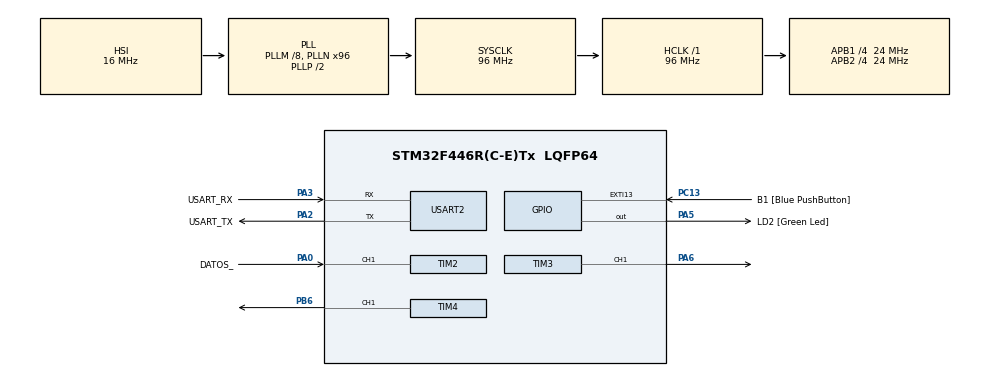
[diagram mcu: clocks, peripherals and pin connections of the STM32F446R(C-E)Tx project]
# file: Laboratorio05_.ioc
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Mcu.Family=STM32F4
Mcu.Name=STM32F446R(C-E)Tx
Mcu.Package=LQFP64
NVIC.PriorityGroup=NVIC_PRIORITYGROUP_0
NVIC.TIM2_IRQn=true\:0\:0\:false\:false\:true\:true\:true\:true
PA0-WKUP.GPIO_Label=DATOS_
PA0-WKUP.Signal=S_TIM2_CH1_ETR
PA13.GPIO_Label=TMS
PA13.Signal=SYS_JTMS-SWDIO
PA14.GPIO_Label=TCK
PA14.Signal=SYS_JTCK-SWCLK
PA2.GPIO_Label=USART_TX
PA2.Mode=Asynchronous
PA2.Signal=USART2_TX
PA3.GPIO_Label=USART_RX
PA3.Mode=Asynchronous
PA3.Signal=USART2_RX
PA5.GPIO_Label=LD2 [Green Led]
PA5.Signal=GPIO_Output
PA6.Signal=S_TIM3_CH1
PB3.GPIO_Label=SWO
PB3.Signal=SYS_JTDO-SWO
PB6.Signal=S_TIM4_CH1
PC13.GPIO_Label=B1 [Blue PushButton]
PC13.GPIO_ModeDefaultEXTI=GPIO_MODE_IT_FALLING
PC13.Signal=GPXTI13
PC14-OSC32_IN.Signal=RCC_OSC32_IN
PC15-OSC32_OUT.Signal=RCC_OSC32_OUT
PH0-OSC_IN.Signal=RCC_OSC_IN
PH1-OSC_OUT.Signal=RCC_OSC_OUT
ProjectManager.HeapSize=0x200
ProjectManager.StackSize=0x400
ProjectManager.TargetToolchain=STM32CubeIDE
RCC.AHBFreq_Value=96000000
RCC.APB1CLKDivider=RCC_HCLK_DIV4
RCC.APB1Freq_Value=24000000
RCC.APB1TimFreq_Value=48000000
RCC.APB2CLKDivider=RCC_HCLK_DIV4
RCC.APB2Freq_Value=24000000
RCC.APB2TimFreq_Value=48000000
RCC.CortexFreq_Value=96000000
RCC.FLatency-AdvancedSettings=FLASH_LATENCY_3
RCC.HCLKFreq_Value=96000000
RCC.HSE_VALUE=8000000
RCC.HSI_VALUE=16000000
RCC.LSE_VALUE=32768
RCC.PLLM=8
RCC.PLLN=96
RCC.SYSCLKFreq_VALUE=96000000
RCC.SYSCLKSource=RCC_SYSCLKSOURCE_PLLCLK
RCC.USBFreq_Value=96000000
RCC.VCOOutputFreq_Value=192000000
SH.S_TIM2_CH1_ETR.0=TIM2_CH1,Input_Capture1_from_TI1
SH.S_TIM3_CH1.0=TIM3_CH1,PWM Generation1 CH1
SH.S_TIM4_CH1.0=TIM4_CH1,PWM Generation1 CH1
TIM2.AutoReloadPreload=TIM_AUTORELOAD_PRELOAD_ENABLE
TIM2.Channel-Input_Capture1_from_TI1=TIM_CHANNEL_1
TIM2.Prescaler=48-1
TIM3.AutoReloadPreload=TIM_AUTORELOAD_PRELOAD_ENABLE
TIM3.Channel-PWM\ Generation1\ CH1=TIM_CHANNEL_1
TIM3.Period=49999
TIM3.Prescaler=899
TIM3.Pulse-PWM\ Generation1\ CH1=25000
TIM4.AutoReloadPreload=TIM_AUTORELOAD_PRELOAD_ENABLE
TIM4.Channel-PWM\ Generation1\ CH1=TIM_CHANNEL_1
TIM4.Period=49999
TIM4.Prescaler=3599
TIM4.Pulse-PWM\ Generation1\ CH1=2500
USART2.VirtualMode=VM_ASYNC
VP_TIM2_VS_ClockSourceINT.Mode=Internal
VP_TIM3_VS_ClockSourceINT.Mode=Internal
VP_TIM4_VS_ClockSourceINT.Mode=Internal
board=NUCLEO-F446RE

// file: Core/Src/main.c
/* USER CODE BEGIN Header */
/**
  ******************************************************************************
  * @file           : main.c
  * @brief          : Laboratorio 05
  ******************************************************************************
  */
/* USER CODE END Header */
#include "main.h"

/* USER CODE BEGIN Includes */
#include <stdio.h>
#include <string.h>
#include <stdbool.h>
#include <math.h>
/* USER CODE END Includes */

/* USER CODE BEGIN PD */
#define TIMER_FREQ_HZ   90000000UL   // 90 MHz (APB1)
#define FILTER_SIZE     8
/* USER CODE END PD */

TIM_HandleTypeDef htim2;
TIM_HandleTypeDef htim3;
TIM_HandleTypeDef htim4;

UART_HandleTypeDef huart2;

/* USER CODE BEGIN PV */
volatile uint32_t captura1 = 0;
volatile uint32_t captura2 = 0;
volatile uint32_t periodo_cuentas = 0;
volatile uint8_t primera_captura = 0;
volatile uint8_t nueva_medicion = 0;

uint32_t buffer_filtro[FILTER_SIZE];
uint8_t indice_filtro = 0;
uint8_t contador_muestras = 0;
uint32_t suma_filtro = 0;
uint32_t frecuencia_filtrada = 0;
/* USER CODE END PV */

void SystemClock_Config(void);
static void MX_GPIO_Init(void);
static void MX_TIM2_Init(void);
static void MX_USART2_UART_Init(void);
static void MX_TIM3_Init(void);
static void MX_TIM4_Init(void);

int main(void)
{

  /* MCU Configuration--------------------------------------------------------*/

  /* Reset of all peripherals, Initializes the Flash interface and the Systick. */
  HAL_Init();

  /* Configure the system clock */
  SystemClock_Config();

  /* Initialize all configured peripherals */
  MX_GPIO_Init();
  MX_TIM2_Init();
  MX_USART2_UART_Init();
  MX_TIM3_Init();
  MX_TIM4_Init();
  /* USER CODE BEGIN 2 */
  // Iniciar TIM2 (Input Capture)
  HAL_TIM_IC_Start_IT(&htim2, TIM_CHANNEL_1);

  // Iniciar PWM (señales cuadradas)
  HAL_TIM_PWM_Start(&htim3, TIM_CHANNEL_1);
  HAL_TIM_PWM_Start(&htim4, TIM_CHANNEL_1);

  // Mensaje de inicio
  char inicio[] = ":)\r\n";
  HAL_UART_Transmit(&huart2, (uint8_t*)inicio, strlen(inicio), HAL_MAX_DELAY);

  // Inicializar filtro
  for (int i = 0; i < FILTER_SIZE; i++) {
    buffer_filtro[i] = 0;
  }
  /* USER CODE END 2 */

  /* Infinite loop */
  while (1)
  {

  }
}

void SystemClock_Config(void)
{
  RCC_OscInitTypeDef RCC_OscInitStruct = {0};
  RCC_ClkInitTypeDef RCC_ClkInitStruct = {0};

  /** Configure the main internal regulator output voltage
  */
  __HAL_RCC_PWR_CLK_ENABLE();
  __HAL_PWR_VOLTAGESCALING_CONFIG(PWR_REGULATOR_VOLTAGE_SCALE3);

  /** Initializes the RCC Oscillators according to the specified parameters
  * in the RCC_OscInitTypeDef structure.
  */
  RCC_OscInitStruct.OscillatorType = RCC_OSCILLATORTYPE_HSI;
  RCC_OscInitStruct.HSIState = RCC_HSI_ON;
  RCC_OscInitStruct.HSICalibrationValue = RCC_HSICALIBRATION_DEFAULT;
  RCC_OscInitStruct.PLL.PLLState = RCC_PLL_ON;
  RCC_OscInitStruct.PLL.PLLSource = RCC_PLLSOURCE_HSI;
  RCC_OscInitStruct.PLL.PLLM = 8;
  RCC_OscInitStruct.PLL.PLLN = 96;
  RCC_OscInitStruct.PLL.PLLP = RCC_PLLP_DIV2;
  RCC_OscInitStruct.PLL.PLLQ = 2;
  RCC_OscInitStruct.PLL.PLLR = 2;
  if (HAL_RCC_OscConfig(&RCC_OscInitStruct) != HAL_OK)
  {
    Error_Handler();
  }

  /** Initializes the CPU, AHB and APB buses clocks
  */
  RCC_ClkInitStruct.ClockType = RCC_CLOCKTYPE_HCLK|RCC_CLOCKTYPE_SYSCLK
                              |RCC_CLOCKTYPE_PCLK1|RCC_CLOCKTYPE_PCLK2;
  RCC_ClkInitStruct.SYSCLKSource = RCC_SYSCLKSOURCE_PLLCLK;
  RCC_ClkInitStruct.AHBCLKDivider = RCC_SYSCLK_DIV1;
  RCC_ClkInitStruct.APB1CLKDivider = RCC_HCLK_DIV4;
  RCC_ClkInitStruct.APB2CLKDivider = RCC_HCLK_DIV4;

  if (HAL_RCC_ClockConfig(&RCC_ClkInitStruct, FLASH_LATENCY_3) != HAL_OK)
  {
    Error_Handler();
  }
}

static void MX_TIM2_Init(void)
{

  TIM_ClockConfigTypeDef sClockSourceConfig = {0};
  TIM_MasterConfigTypeDef sMasterConfig = {0};
  TIM_IC_InitTypeDef sConfigIC = {0};

  htim2.Instance = TIM2;
  htim2.Init.Prescaler = 48-1;
  htim2.Init.CounterMode = TIM_COUNTERMODE_UP;
  htim2.Init.Period = 4294967295;
  htim2.Init.ClockDivision = TIM_CLOCKDIVISION_DIV1;
  htim2.Init.AutoReloadPreload = TIM_AUTORELOAD_PRELOAD_ENABLE;
  if (HAL_TIM_Base_Init(&htim2) != HAL_OK)
  {
    Error_Handler();
  }
  sClockSourceConfig.ClockSource = TIM_CLOCKSOURCE_INTERNAL;
  if (HAL_TIM_ConfigClockSource(&htim2, &sClockSourceConfig) != HAL_OK)
  {
    Error_Handler();
  }
  if (HAL_TIM_IC_Init(&htim2) != HAL_OK)
  {
    Error_Handler();
  }
  sMasterConfig.MasterOutputTrigger = TIM_TRGO_RESET;
  sMasterConfig.MasterSlaveMode = TIM_MASTERSLAVEMODE_DISABLE;
  if (HAL_TIMEx_MasterConfigSynchronization(&htim2, &sMasterConfig) != HAL_OK)
  {
    Error_Handler();
  }
  sConfigIC.ICPolarity = TIM_INPUTCHANNELPOLARITY_RISING;
  sConfigIC.ICSelection = TIM_ICSELECTION_DIRECTTI;
  sConfigIC.ICPrescaler = TIM_ICPSC_DIV1;
  sConfigIC.ICFilter = 0;
  if (HAL_TIM_IC_ConfigChannel(&htim2, &sConfigIC, TIM_CHANNEL_1) != HAL_OK)
  {
    Error_Handler();
  }

}

static void MX_TIM3_Init(void)
{

  TIM_ClockConfigTypeDef sClockSourceConfig = {0};
  TIM_MasterConfigTypeDef sMasterConfig = {0};
  TIM_OC_InitTypeDef sConfigOC = {0};

  htim3.Instance = TIM3;
  htim3.Init.Prescaler = 899;
  htim3.Init.CounterMode = TIM_COUNTERMODE_UP;
  htim3.Init.Period = 49999;
  htim3.Init.ClockDivision = TIM_CLOCKDIVISION_DIV1;
  htim3.Init.AutoReloadPreload = TIM_AUTORELOAD_PRELOAD_ENABLE;
  if (HAL_TIM_Base_Init(&htim3) != HAL_OK)
  {
    Error_Handler();
  }
  sClockSourceConfig.ClockSource = TIM_CLOCKSOURCE_INTERNAL;
  if (HAL_TIM_ConfigClockSource(&htim3, &sClockSourceConfig) != HAL_OK)
  {
    Error_Handler();
  }
  if (HAL_TIM_PWM_Init(&htim3) != HAL_OK)
  {
    Error_Handler();
  }
  sMasterConfig.MasterOutputTrigger = TIM_TRGO_RESET;
  sMasterConfig.MasterSlaveMode = TIM_MASTERSLAVEMODE_DISABLE;
  if (HAL_TIMEx_MasterConfigSynchronization(&htim3, &sMasterConfig) != HAL_OK)
  {
    Error_Handler();
  }
  sConfigOC.OCMode = TIM_OCMODE_PWM1;
  sConfigOC.Pulse = 25000;
  sConfigOC.OCPolarity = TIM_OCPOLARITY_HIGH;
  sConfigOC.OCFastMode = TIM_OCFAST_DISABLE;
  if (HAL_TIM_PWM_ConfigChannel(&htim3, &sConfigOC, TIM_CHANNEL_1) != HAL_OK)
  {
    Error_Handler();
  }
  HAL_TIM_MspPostInit(&htim3);

}

static void MX_TIM4_Init(void)
{

  TIM_ClockConfigTypeDef sClockSourceConfig = {0};
  TIM_MasterConfigTypeDef sMasterConfig = {0};
  TIM_OC_InitTypeDef sConfigOC = {0};

  htim4.Instance = TIM4;
  htim4.Init.Prescaler = 3599;
  htim4.Init.CounterMode = TIM_COUNTERMODE_UP;
  htim4.Init.Period = 49999;
  htim4.Init.ClockDivision = TIM_CLOCKDIVISION_DIV1;
  htim4.Init.AutoReloadPreload = TIM_AUTORELOAD_PRELOAD_ENABLE;
  if (HAL_TIM_Base_Init(&htim4) != HAL_OK)
  {
    Error_Handler();
  }
  sClockSourceConfig.ClockSource = TIM_CLOCKSOURCE_INTERNAL;
  if (HAL_TIM_ConfigClockSource(&htim4, &sClockSourceConfig) != HAL_OK)
  {
    Error_Handler();
  }
  if (HAL_TIM_PWM_Init(&htim4) != HAL_OK)
  {
    Error_Handler();
  }
  sMasterConfig.MasterOutputTrigger = TIM_TRGO_RESET;
  sMasterConfig.MasterSlaveMode = TIM_MASTERSLAVEMODE_DISABLE;
  if (HAL_TIMEx_MasterConfigSynchronization(&htim4, &sMasterConfig) != HAL_OK)
  {
    Error_Handler();
  }
  sConfigOC.OCMode = TIM_OCMODE_PWM1;
  sConfigOC.Pulse = 2500;
  sConfigOC.OCPolarity = TIM_OCPOLARITY_HIGH;
  sConfigOC.OCFastMode = TIM_OCFAST_DISABLE;
  if (HAL_TIM_PWM_ConfigChannel(&htim4, &sConfigOC, TIM_CHANNEL_1) != HAL_OK)
  {
    Error_Handler();
  }
  HAL_TIM_MspPostInit(&htim4);

}

static void MX_USART2_UART_Init(void)
{

  huart2.Instance = USART2;
  huart2.Init.BaudRate = 115200;
  huart2.Init.WordLength = UART_WORDLENGTH_8B;
  huart2.Init.StopBits = UART_STOPBITS_1;
  huart2.Init.Parity = UART_PARITY_NONE;
  huart2.Init.Mode = UART_MODE_TX_RX;
  huart2.Init.HwFlowCtl = UART_HWCONTROL_NONE;
  huart2.Init.OverSampling = UART_OVERSAMPLING_16;
  if (HAL_UART_Init(&huart2) != HAL_OK)
  {
    Error_Handler();
  }

}

static void MX_GPIO_Init(void)
{
  GPIO_InitTypeDef GPIO_InitStruct = {0};

  /* GPIO Ports Clock Enable */
  __HAL_RCC_GPIOC_CLK_ENABLE();
  __HAL_RCC_GPIOH_CLK_ENABLE();
  __HAL_RCC_GPIOA_CLK_ENABLE();
  __HAL_RCC_GPIOB_CLK_ENABLE();

  /*Configure GPIO pin Output Level */
  HAL_GPIO_WritePin(LD2_GPIO_Port, LD2_Pin, GPIO_PIN_RESET);

  /*Configure GPIO pin : B1_Pin */
  GPIO_InitStruct.Pin = B1_Pin;
  GPIO_InitStruct.Mode = GPIO_MODE_IT_FALLING;
  GPIO_InitStruct.Pull = GPIO_NOPULL;
  HAL_GPIO_Init(B1_GPIO_Port, &GPIO_InitStruct);

  /*Configure GPIO pin : LD2_Pin */
  GPIO_InitStruct.Pin = LD2_Pin;
  GPIO_InitStruct.Mode = GPIO_MODE_OUTPUT_PP;
  GPIO_InitStruct.Pull = GPIO_NOPULL;
  GPIO_InitStruct.Speed = GPIO_SPEED_FREQ_LOW;
  HAL_GPIO_Init(LD2_GPIO_Port, &GPIO_InitStruct);

}

/* USER CODE BEGIN 4 */

void HAL_TIM_IC_CaptureCallback(TIM_HandleTypeDef *htim)
{
  if (htim->Instance == TIM2 && htim->Channel == HAL_TIM_ACTIVE_CHANNEL_1) {
    uint32_t captura_actual = HAL_TIM_ReadCapturedValue(htim, TIM_CHANNEL_1);
    if (primera_captura == 0) {
      captura1 = captura_actual;
      primera_captura = 1;
    } else {
      captura2 = captura_actual;
      nueva_medicion = 1;
      primera_captura = 0;
    }
  }
}

/* USER CODE END 4 */

void Error_Handler(void)
{
  __disable_irq();
  while (1)
  {
  }
}
